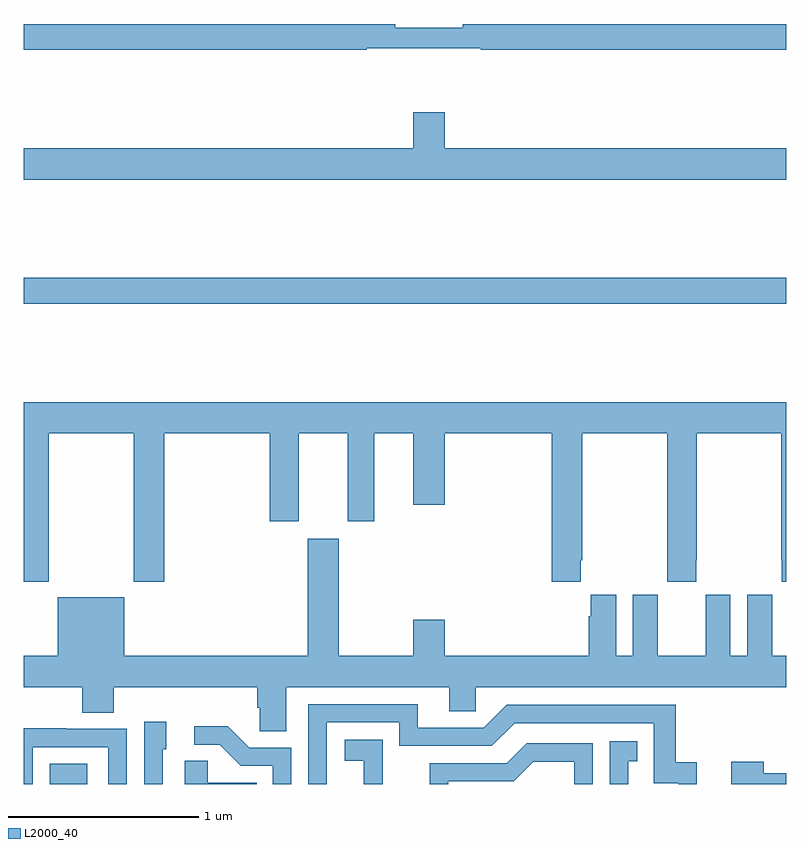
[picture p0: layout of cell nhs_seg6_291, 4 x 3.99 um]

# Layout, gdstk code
import gdstk
lib = gdstk.Library(unit=1e-6, precision=1e-09)
def R(c, l, rs):  # rectangles x0, y0, x1, y1
    for r in rs: c.add(gdstk.rectangle(r[:2], r[2:], *l))
def P(c, l, *ps):  # polygons
    for p in ps: c.add(gdstk.Polygon(p, *l))
L2000_40 = (2000, 40)

nhs_seg6_291 = lib.new_cell('nhs_seg6_291')
R(nhs_seg6_291, L2000_40, [(127.136,941.5,127.333,941.605), (127,944.02,131,944.156)])
P(nhs_seg6_291, L2000_40, [(128.798,945.36),(129.398,945.36),(129.398,945.352),(131,945.352),(131,945.488),(129.304,945.488),(129.304,945.469),(128.948,945.469),(128.948,945.488),(127,945.488),(127,945.352),(128.798,945.352)],
  [(131,944.836),(129.208,944.836),(129.208,945.025),(129.044,945.025),(129.044,944.836),(127,944.836),(127,944.672),(131,944.672)],
  [(127.131,943.34),(127.576,943.34),(127.576,942.561),(127.736,942.561),(127.736,943.34),(128.291,943.34),(128.291,942.879),(128.443,942.879),(128.443,943.34),(128.699,943.34),(128.699,942.879),(128.839,942.879),(128.839,943.34),(129.044,943.34),(129.044,942.966),(129.208,942.966),(129.208,943.34),(129.77,943.34),(129.77,942.561),(129.923,942.561),(129.923,942.673),(129.93,942.673),(129.93,943.34),(130.375,943.34),(130.375,942.673),(130.377,942.673),(130.377,942.561),(130.527,942.561),(130.527,942.673),(130.53,942.673),(130.53,943.34),(130.975,943.34),(130.975,942.673),(130.977,942.673),(130.977,942.561),(131,942.561),(131,943.504),(127,943.504),(127,942.561),(127.131,942.561)],
  [(128.377,942.008),(129.233,942.008),(129.233,941.881),(129.372,941.881),(129.372,942.008),(131,942.008),(131,942.172),(130.927,942.172),(130.927,942.38),(130.926,942.38),(130.926,942.493),(130.796,942.493),(130.796,942.172),(130.708,942.172),(130.708,942.493),(130.578,942.493),(130.578,942.38),(130.577,942.38),(130.577,942.172),(130.327,942.172),(130.327,942.38),(130.326,942.38),(130.326,942.493),(130.196,942.493),(130.196,942.172),(130.108,942.172),(130.108,942.493),(129.974,942.493),(129.974,942.38),(129.965,942.38),(129.965,942.172),(129.208,942.172),(129.208,942.361),(129.044,942.361),(129.044,942.172),(128.653,942.172),(128.653,942.787),(128.489,942.787),(128.489,942.172),(127.528,942.172),(127.528,942.481),(127.178,942.481),(127.178,942.172),(127,942.172),(127,942.008),(127.307,942.008),(127.307,941.875),(127.472,941.875),(127.472,942.008),(128.225,942.008),(128.225,941.899),(128.238,941.899),(128.238,941.776),(128.377,941.776)],
  [(128.589,941.823),(128.97,941.823),(128.97,941.7),(129.456,941.7),(129.576,941.82),(130.305,941.82),(130.305,941.505),(130.434,941.505),(130.434,941.5),(130.532,941.5),(130.532,941.614),(130.421,941.614),(130.421,941.916),(129.534,941.916),(129.414,941.796),(129.067,941.796),(129.067,941.919),(128.493,941.919),(128.493,941.5),(128.589,941.5)],
  [(127.728,941.682),(127.747,941.682),(127.747,941.827),(127.632,941.827),(127.632,941.5),(127.728,941.5)],
  [(128.403,941.691),(128.184,941.691),(128.071,941.804),(127.893,941.804),(127.893,941.706),(128.027,941.706),(128.138,941.595),(128.307,941.595),(128.307,941.5),(128.403,941.5)],
  [(127.047,941.694),(127.443,941.694),(127.443,941.5),(127.539,941.5),(127.539,941.79),(127.223,941.79),(127.223,941.792),(127,941.792),(127,941.5),(127.047,941.5)],
  [(128.882,941.525),(128.883,941.525),(128.883,941.731),(128.685,941.731),(128.685,941.621),(128.783,941.621),(128.783,941.5),(128.882,941.5)],
  [(130.171,941.619),(130.22,941.619),(130.22,941.725),(130.074,941.725),(130.074,941.5),(130.171,941.5)],
  [(129.228,941.514),(129.57,941.514),(129.674,941.618),(129.888,941.618),(129.888,941.5),(129.984,941.5),(129.984,941.715),(129.638,941.715),(129.533,941.61),(129.13,941.61),(129.13,941.5),(129.228,941.5)],
  [(128.222,941.506),(127.965,941.506),(127.965,941.621),(127.844,941.621),(127.844,941.5),(128.222,941.5)],
  [(131,941.557),(130.883,941.557),(130.883,941.617),(130.712,941.617),(130.712,941.5),(131,941.5)])

lib.write_gds('nhs_seg6_291.gds')
